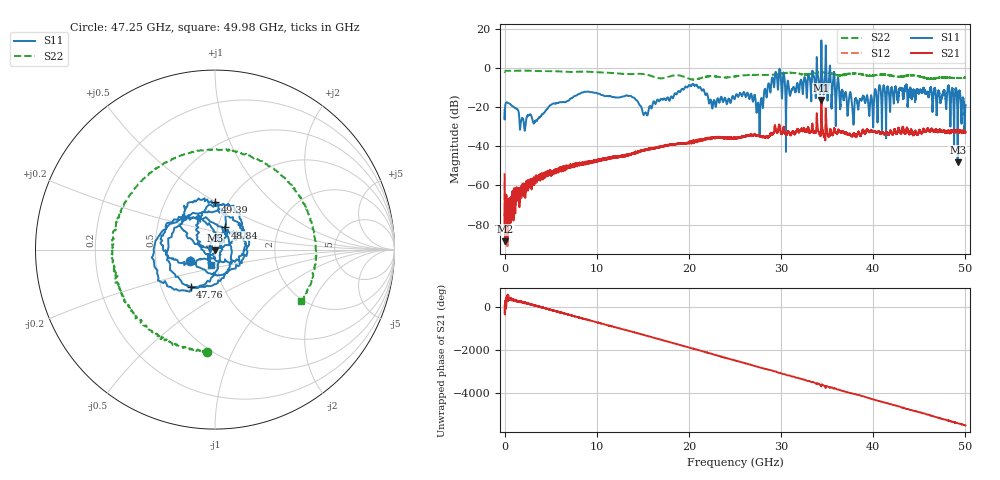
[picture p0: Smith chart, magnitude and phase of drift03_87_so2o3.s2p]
!Created with skrf (http://scikit-rf.org).
# Hz S RI R 50.0
!freq ReS11 ImS11 ReS21 ImS21 ReS12 ImS12 ReS22 ImS22
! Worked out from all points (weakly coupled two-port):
!   10001 points, 300 kHz to 50 GHz, reference 50 ohm
!   highest |S21| = -16.32 dB at 34.37 GHz (marker M1); lowest = -88.5 dB at 95.3 MHz (marker M2)
!   lowest |S11| = -48.2 dB at 49.17 GHz (marker M3), VSWR 1.01, Z = 50.1 - j0.381 ohm
!   |S11| at or under -10 dB: start of sweep to 19.55 GHz; 21.25 GHz to 28.55 GHz (7.297 GHz wide, 29.3 % of centre); 36.28 GHz to 40.61 GHz (4.329 GHz wide, 11.3 % of centre) (the widest 3 of 38)
!   |S22| runs from -5.9 to -1.3 dB; largest |S21 - S12| = 0.025
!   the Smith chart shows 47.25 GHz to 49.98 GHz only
!   S11 on the Smith chart (normalised r, x): 47.25 GHz: 0.75, -0.09; 47.76 GHz: 0.70, -0.31; 48.84 GHz: 1.08, +0.27; 49.39 GHz: 0.87, +0.49; 49.98 GHz: 0.94, -0.16
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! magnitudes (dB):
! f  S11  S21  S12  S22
! 300 kHz  -21.5  -54.3  -58.6  -2.0
! 95.3 MHz  -18.4  -88.5  -76.2  -1.5
! 3.3 GHz  -27.2  -56.3  -56.6  -1.5
! 8.335 GHz  -12.6  -49.3  -49.2  -1.9
! 15.29 GHz  -22.8  -41.9  -42.1  -3.3
! 16.67 GHz  -16.5  -40.3  -40.6  -5.1
! 20.26 GHz  -9.2  -37.8  -38.1  -5.8
! 25 GHz  -15.3  -35.6  -35.8  -4.3
! 27.52 GHz  -17.8  -34.5  -34.5  -3.5
! 29.28 GHz  -8.6  -31.1  -30.6  -3.3
! 30.73 GHz  -6.5  -32.4  -32.5  -2.4
! 33.34 GHz  -7.5  -31.3  -31.3  -2.9
! 34.37 GHz  14.1  -16.3  -17.4  -2.3
! 37.87 GHz  -29.0  -33.7  -34.3  -2.9
! 41.67 GHz  -11.3  -34.3  -34.0  -3.6
! 47.25 GHz  -16.3  -31.5  -31.8  -4.9
! 47.76 GHz  -12.1  -32.3  -32.2  -4.9
! 48.84 GHz  -17.4  -32.2  -32.2  -5.1
! 49.17 GHz  -48.2  -32.3  -32.6  -5.1
! 49.39 GHz  -11.6  -32.4  -32.1  -5.1
! 49.98 GHz  -21.0  -32.6  -32.6  -5.0
! 50 GHz  -19.1  -32.9  -32.6  -4.9
